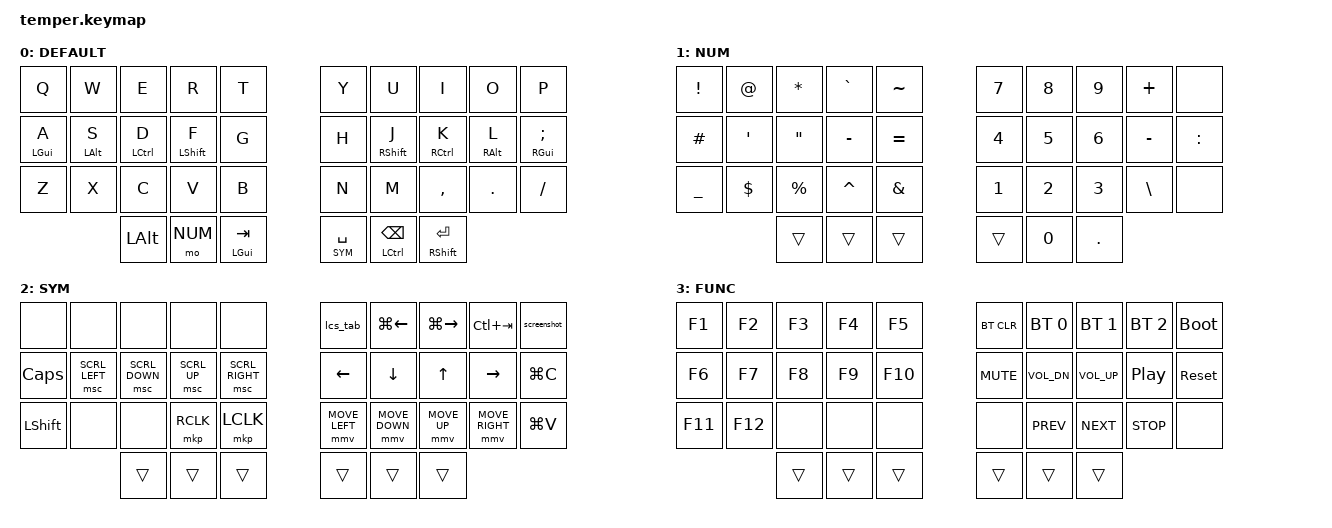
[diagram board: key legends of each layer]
/*
 * Copyright (c) 2020 The ZMK Contributors
 *
 * SPDX-License-Identifier: MIT
 */

#include <behaviors.dtsi>
#include <dt-bindings/zmk/keys.h>
#include <dt-bindings/zmk/bt.h>
#include <dt-bindings/zmk/outputs.h>
#include <dt-bindings/zmk/ext_power.h>
#include <dt-bindings/zmk/pointing.h>
#include <dt-bindings/zmk/reset.h>

#define DEFAULT 0
#define NUM 1
#define SYM 2
#define FUNC 3

#define ______ &trans

// Home row mod positional trigger groups
#define KEYS_L 0 1 2 3 4 10 11 12 13 14 20 21 22 23 24
#define KEYS_R 5 6 7 8 9 15 16 17 18 19 25 26 27 28 29
#define THUMBS 30 31 32 33 34 35

&mt {
  tapping-term-ms = <200>;
  flavor = "tap-preferred";
};

/ {
    conditional_layers {
        compatible = "zmk,conditional-layers";
        tri_layer {
            if-layers = <NUM SYM>;
            then-layer = <FUNC>;
        };
    };
    behaviors {

        // Thumb mod-tap (no positional filter)
        hm: homerow_mods {
            compatible = "zmk,behavior-hold-tap";
            #binding-cells = <2>;
            tapping-term-ms = <200>;
            quick-tap-ms = <0>;
            flavor = "tap-preferred";
            bindings = <&kp>, <&kp>;
        };

        // Positional home row mods (left hand): hold triggers only with a
        // right-hand or thumb key, so same-hand rolls stay plain letters.
        hml: home_row_mod_left {
            compatible = "zmk,behavior-hold-tap";
            #binding-cells = <2>;
            flavor = "balanced";
            tapping-term-ms = <200>;
            quick-tap-ms = <175>;
            require-prior-idle-ms = <150>;
            hold-trigger-key-positions = <KEYS_R THUMBS>;
            hold-trigger-on-release;
            bindings = <&kp>, <&kp>;
        };

        // Positional home row mods (right hand): hold triggers only with a left-hand or thumb key.
        hmr: home_row_mod_right {
            compatible = "zmk,behavior-hold-tap";
            #binding-cells = <2>;
            flavor = "balanced";
            tapping-term-ms = <200>;
            quick-tap-ms = <175>;
            require-prior-idle-ms = <150>;
            hold-trigger-key-positions = <KEYS_L THUMBS>;
            hold-trigger-on-release;
            bindings = <&kp>, <&kp>;
        };
    };

    /*                KEY POSITIONS
     ╭────────────────────╮ ╭────────────────────╮
     │  0   1   2   3   4 │ │  5   6   7   8   9 │
     │ 10  11  12  13  14 │ │ 15  16  17  18  19 │
     │ 20  21  22  23  24 │ │ 25  26  27  28  29 │
     ╰───────╮ 30  31  32 │ │ 33  34  35╭────────╯
             ╰────────────╯ ╰───────────╯            */

    combos {
        compatible = "zmk,combos";

        // J + K = ESC
        jk_esc {
            timeout-ms = <50>;
            key-positions = <16 17>;
            bindings = <&kp ESC>;
        };

        // S + D = One-shot Right Shift
        sd_osm_rshift {
            timeout-ms = <50>;
            key-positions = <11 12>;
            bindings = <&sk RSHFT>;
        };

        // Bracket combos - opening
        combo_lparen {
            timeout-ms = <50>;
            key-positions = <3 4>;
            bindings = <&kp LPAR>;
        };
        combo_lbkt {
            timeout-ms = <50>;
            key-positions = <13 14>;
            bindings = <&kp LBKT>;
        };
        combo_lbrc {
            timeout-ms = <50>;
            key-positions = <23 24>;
            bindings = <&kp LBRC>;
        };

        // Bracket combos - closing
        combo_rparen {
            timeout-ms = <50>;
            key-positions = <5 6>;
            bindings = <&kp RPAR>;
        };
        combo_rbkt {
            timeout-ms = <50>;
            key-positions = <15 16>;
            bindings = <&kp RBKT>;
        };
        combo_rbrc {
            timeout-ms = <50>;
            key-positions = <25 26>;
            bindings = <&kp RBRC>;
        };

        // L + ; = '
        combo_sqt {
            timeout-ms = <50>;
            key-positions = <18 19>;
            bindings = <&kp SQT>;
        };
    };

    macros {
        // Ctrl+Shift+Tab (browser tab back)
        lcs_tab: lcs_tab {
            compatible = "zmk,behavior-macro";
            #binding-cells = <0>;
            bindings = <&macro_press &kp LCTRL &kp LSHFT>,
                       <&macro_tap &kp TAB>,
                       <&macro_release &kp LSHFT &kp LCTRL>;
        };

        // Screenshot (Shift+Gui+4)
        screenshot: screenshot {
            compatible = "zmk,behavior-macro";
            #binding-cells = <0>;
            bindings = <&kp LG(LS(N4))>;
        };
    };

    keymap {
        compatible = "zmk,keymap";

        default_layer {
            label = "DEFAULT";
            bindings = <
// ╭─────────────┬─────────────┬─────────────┬─────────────┬─────────────╮   ╭─────────────┬─────────────┬─────────────┬─────────────┬─────────────╮
        &kp Q         &kp W         &kp E         &kp R         &kp T             &kp Y         &kp U         &kp I         &kp O         &kp P
// ├─────────────┼─────────────┼─────────────┼─────────────┼─────────────┤   ├─────────────┼─────────────┼─────────────┼─────────────┼─────────────┤
        &hml LGUI A   &hml LALT S   &hml LCTRL D   &hml LSHFT F   &kp G            &kp H   &hmr RSHFT J   &hmr RCTRL K   &hmr RALT L   &hmr RGUI SEMI
// ├─────────────┼─────────────┼─────────────┼─────────────┼─────────────┤   ├─────────────┼─────────────┼─────────────┼─────────────┼─────────────┤
        &kp Z         &kp X         &kp C         &kp V         &kp B             &kp N         &kp M       &kp COMMA      &kp DOT      &kp FSLH
// ╰─────────────┴─────────────┼─────────────┼─────────────┼─────────────┤   ├─────────────┼─────────────┼─────────────┼─────────────┴─────────────╯
                      &kp LALT      &mo NUM    &hm LGUI TAB                   &lt SYM SPACE &hm LCTRL BSPC &hm RSHFT ENTER
//                             ╰─────────────┴─────────────┴─────────────╯   ╰─────────────┴─────────────┴─────────────╯
            >;
        };
        num_layer {
            label = "NUM";
            bindings = <
// ╭─────────────┬─────────────┬─────────────┬─────────────┬─────────────╮   ╭─────────────┬─────────────┬─────────────┬─────────────┬─────────────╮
       &kp EXCL      &kp AT      &kp STAR     &kp GRAVE    &kp TILDE           &kp N7        &kp N8        &kp N9       &kp PLUS       &none
// ├─────────────┼─────────────┼─────────────┼─────────────┼─────────────┤   ├─────────────┼─────────────┼─────────────┼─────────────┼─────────────┤
       &kp HASH     &kp SQT      &kp DQT      &kp MINUS    &kp EQUAL           &kp N4        &kp N5        &kp N6      &kp MINUS    &kp COLON
// ├─────────────┼─────────────┼─────────────┼─────────────┼─────────────┤   ├─────────────┼─────────────┼─────────────┼─────────────┼─────────────┤
       &kp UNDER    &kp DLLR    &kp PRCNT    &kp CARET     &kp AMPS            &kp N1        &kp N2        &kp N3       &kp BSLH       &none
// ╰─────────────┴─────────────┼─────────────┼─────────────┼─────────────┤   ├─────────────┼─────────────┼─────────────┼─────────────┴─────────────╯
                                   ______        ______        ______            ______       &kp N0       &kp DOT
//                             ╰─────────────┴─────────────┴─────────────╯   ╰─────────────┴─────────────┴─────────────╯
            >;
        };
        sym_layer {
            label = "SYM";
            bindings = <
// ╭─────────────┬─────────────┬─────────────┬─────────────┬─────────────╮   ╭─────────────┬─────────────┬─────────────┬─────────────┬─────────────╮
        &none         &none         &none         &none         &none          &lcs_tab    &kp LG(LEFT)  &kp LG(RIGHT)  &kp LC(TAB)   &screenshot
// ├─────────────┼─────────────┼─────────────┼─────────────┼─────────────┤   ├─────────────┼─────────────┼─────────────┼─────────────┼─────────────┤
      &kp CAPS   &msc SCRL_LEFT &msc SCRL_DOWN &msc SCRL_UP &msc SCRL_RIGHT    &kp LEFT      &kp DOWN       &kp UP       &kp RIGHT    &kp LG(C)
// ├─────────────┼─────────────┼─────────────┼─────────────┼─────────────┤   ├─────────────┼─────────────┼─────────────┼─────────────┼─────────────┤
      &kp LSHFT       &none         &none      &mkp RCLK     &mkp LCLK      &mmv MOVE_LEFT &mmv MOVE_DOWN &mmv MOVE_UP &mmv MOVE_RIGHT &kp LG(V)
// ╰─────────────┴─────────────┼─────────────┼─────────────┼─────────────┤   ├─────────────┼─────────────┼─────────────┼─────────────┴─────────────╯
                                   ______        ______        ______            ______        ______        ______
//                             ╰─────────────┴─────────────┴─────────────╯   ╰─────────────┴─────────────┴─────────────╯
            >;
        };

        func_layer {
            label = "FUNC";
            bindings = <
// ╭─────────────┬─────────────┬─────────────┬─────────────┬─────────────╮   ╭─────────────┬─────────────┬─────────────┬─────────────┬─────────────╮
       &kp F1        &kp F2        &kp F3        &kp F4        &kp F5         &bt BT_CLR   &bt BT_SEL 0  &bt BT_SEL 1  &bt BT_SEL 2   &bootloader
// ├─────────────┼─────────────┼─────────────┼─────────────┼─────────────┤   ├─────────────┼─────────────┼─────────────┼─────────────┼─────────────┤
       &kp F6        &kp F7        &kp F8        &kp F9       &kp F10        &kp C_MUTE   &kp C_VOL_DN  &kp C_VOL_UP    &kp C_PP     &sys_reset
// ├─────────────┼─────────────┼─────────────┼─────────────┼─────────────┤   ├─────────────┼─────────────┼─────────────┼─────────────┼─────────────┤
       &kp F11       &kp F12        &none         &none         &none           &none      &kp C_PREV    &kp C_NEXT    &kp C_STOP       &none
// ╰─────────────┴─────────────┼─────────────┼─────────────┼─────────────┤   ├─────────────┼─────────────┼─────────────┼─────────────┴─────────────╯
                                   ______        ______        ______            ______        ______        ______
//                             ╰─────────────┴─────────────┴─────────────╯   ╰─────────────┴─────────────┴─────────────╯
            >;
        };
    };
};
